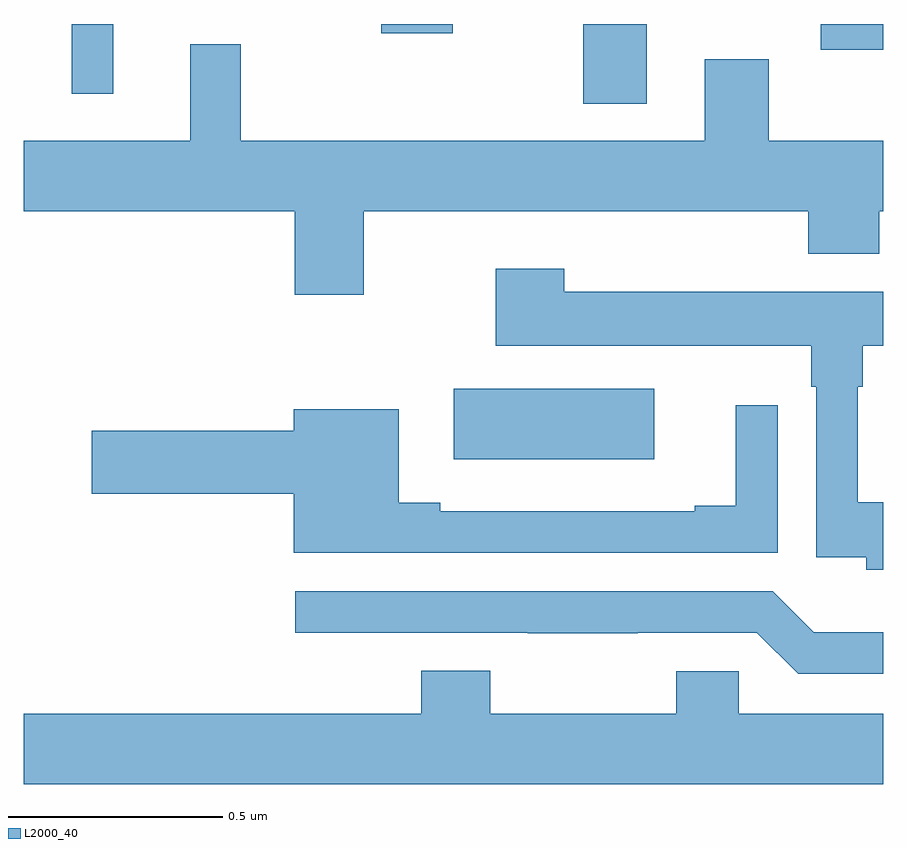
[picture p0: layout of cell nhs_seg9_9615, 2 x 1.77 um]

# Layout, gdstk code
import gdstk
lib = gdstk.Library(unit=1e-6, precision=1e-09)
def R(c, l, rs):  # rectangles x0, y0, x1, y1
    for r in rs: c.add(gdstk.rectangle(r[:2], r[2:], *l))
def P(c, l, *ps):  # polygons
    for p in ps: c.add(gdstk.Polygon(p, *l))
L2000_40 = (2000, 40)

nhs_seg9_9615 = lib.new_cell('nhs_seg9_9615')
R(nhs_seg9_9615, L2000_40, [(233.001,1218.488,233.467,1218.652), (233.302,1219.314,233.449,1219.5), (232.112,1219.338,232.209,1219.5), (233.854,1219.44,234,1219.5), (232.832,1219.479,232.998,1219.5)])
P(nhs_seg9_9615, L2000_40, [(232.791,1219.064),(233.825,1219.064),(233.825,1218.965),(233.99,1218.965),(233.99,1219.064),(234,1219.064),(234,1219.228),(233.733,1219.228),(233.733,1219.418),(233.585,1219.418),(233.585,1219.228),(232.505,1219.228),(232.505,1219.453),(232.388,1219.453),(232.388,1219.228),(232,1219.228),(232,1219.064),(232.631,1219.064),(232.631,1218.87),(232.791,1218.87)],
  [(234,1218.388),(233.94,1218.388),(233.94,1218.656),(233.952,1218.656),(233.952,1218.752),(234,1218.752),(234,1218.877),(233.258,1218.877),(233.258,1218.931),(233.098,1218.931),(233.098,1218.752),(233.832,1218.752),(233.832,1218.656),(233.844,1218.656),(233.844,1218.26),(233.96,1218.26),(233.96,1218.23),(234,1218.23)],
  [(233.754,1218.613),(233.657,1218.613),(233.657,1218.379),(233.561,1218.379),(233.561,1218.366),(232.969,1218.366),(232.969,1218.386),(232.873,1218.386),(232.873,1218.604),(232.628,1218.604),(232.628,1218.554),(232.158,1218.554),(232.158,1218.407),(232.628,1218.407),(232.628,1218.27),(233.754,1218.27)],
  [(234,1218.085),(233.838,1218.085),(233.743,1218.18),(232.632,1218.18),(232.632,1218.084),(233.173,1218.084),(233.173,1218.083),(233.429,1218.083),(233.429,1218.084),(233.706,1218.084),(233.802,1217.988),(234,1217.988)],
  [(234,1217.896),(233.664,1217.896),(233.664,1217.994),(233.518,1217.994),(233.518,1217.896),(233.085,1217.896),(233.085,1217.995),(232.925,1217.995),(232.925,1217.896),(232,1217.896),(232,1217.732),(234,1217.732)])

lib.write_gds('nhs_seg9_9615.gds')
